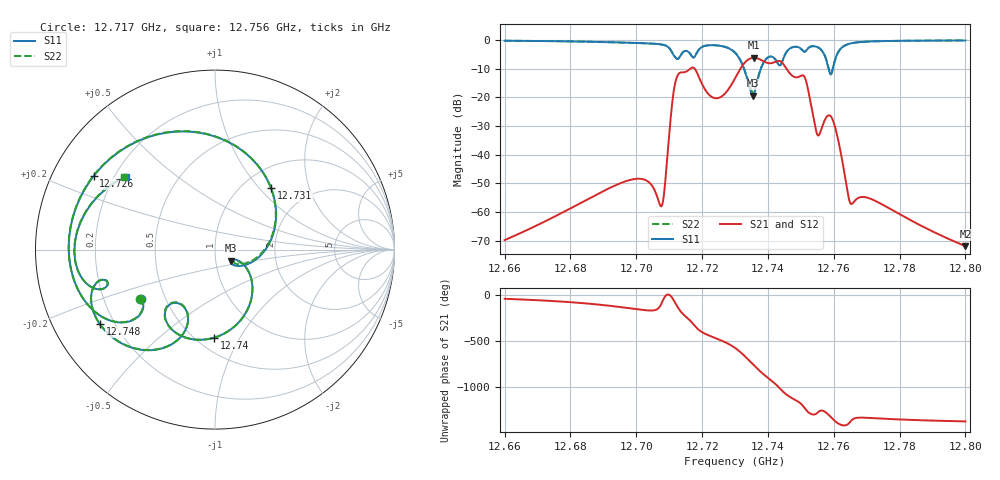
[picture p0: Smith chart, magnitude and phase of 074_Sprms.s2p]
! TOUCHSTONE file generated by CST MICROWAVE STUDIO
! Date and time: Wed Jul 31 14:26:43 2024
! Project name: WaveGuide_BPF-Ver4.1_U-shape_Ku_T3_C4_CWA_2.cst
! Parameters = {cavity_h=16; cavity_l0=10; cavity_l1=15.231; cavity_l2=16.8286; cavity_l3=17.0684; cavity_l4=17.2847; cavity_l5=17.1114; cavity_l6=17.5971; cavity_r=2.5; cavity_screw_l=0.5; cavity_screw_r=1.5; cavity_w=8; iris_h00=0; iris_h01=8.8413; iris_h112=0; iris_h12=5.6017; iris_h211=3.6609; i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
! Header version: 2018
! Port assignment regex: !\s*Touchstone port\s*([0-9]+)\s*=\s*(CST MWS port|CST DS port)\s*([0-9]+|Zmin|Zmax)\s*\(\"(.*)\"\)(\s*mode\s*([0-9]+))?.*
! Touchstone port assignment:
! Touchstone port 1 = CST MWS port 1 ("")
! Touchstone port 2 = CST MWS port 2 ("")
# GHz S RI R 50
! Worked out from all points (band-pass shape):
!   5001 points, 12.66 GHz to 12.8 GHz, reference 50 ohm
!   highest |S21| = -6.17 dB at 12.736 GHz (marker M1); lowest = -71.9 dB at 12.8 GHz (marker M2)
!   |S21| within 3 dB of the highest: 12.73211 GHz to 12.74517 GHz (13.05 MHz wide, 0.102 % of centre)
!   lowest |S11| = -19.4 dB at 12.735 GHz (marker M3), VSWR 1.24, Z = 59 - j7.37 ohm
!   |S11| at or under -10 dB: 12.73271 GHz to 12.73786 GHz (5.152 MHz wide, 0.0405 % of centre); 12.75842 GHz to 12.75969 GHz (1.269 MHz wide, 0.00995 % of centre)
!   |S22| runs from -18.1 to -0.1 dB; largest |S21 - S12| = 1e-09
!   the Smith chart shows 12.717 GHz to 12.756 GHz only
!   S11 on the Smith chart (normalised r, x): 12.717 GHz: 0.36, -0.26; 12.726 GHz: 0.13, +0.28; 12.731 GHz: 1.33, +1.16; 12.74 GHz: 0.61, -0.78; 12.748 GHz: 0.15, -0.29; 12.756 GHz: 0.25, +0.34
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12.66  0.5302 0.8168  0.000258 -0.000195  0.000258 -0.000195  0.5299 0.817
12.68335  0.9211 0.1938  0.000176 -0.00145  0.000176 -0.00145  0.9209 0.195
12.69564  0.7408 -0.5203  -0.00205 -0.00254  -0.00205 -0.00254  0.7413 -0.5197
12.70668  -0.1743 -0.8341  -0.00128 -0.001  -0.00128 -0.001  -0.1744 -0.8342
12.70827  -0.3502 -0.7453  0.00131 -0.00115  0.00131 -0.00115  -0.3502 -0.7459
12.71205  -0.3483 -0.3376  -0.0187 -0.1992  -0.0187 -0.1992  -0.3509 -0.338
12.71732  -0.4135 -0.2738  0.221 0.2466  0.221 0.2466  -0.4159 -0.2734
12.72566  -0.6757 0.4101  -0.0616 -0.0807  -0.0616 -0.0807  -0.6787 0.409
12.73  0.0799 0.5961  -0.1849 0.1085  -0.1849 0.1085  0.0665 0.6045
12.73143  0.3126 0.3423  -0.1031 0.2829  -0.1031 0.2829  0.3039 0.3622
12.7354  0.0871 -0.0617  0.4352 -0.226  0.4352 -0.226  0.1056 -0.0655
12.73574  0.0983 -0.0552  0.3797 -0.3124  0.3797 -0.3124  0.1142 -0.0618
12.73988  -0.00511 -0.4908  -0.3959 -0.0478  -0.3959 -0.0478  -0.00932 -0.492
12.74316  -0.2318 -0.2978  0.025 0.4319  0.025 0.4319  -0.2323 -0.294
12.74828  -0.6409 -0.4165  0.1271 -0.1853  0.1271 -0.1853  -0.6415 -0.4146
12.75335  -0.7761 -0.0734  -0.0528 0.0333  -0.0528 0.0333  -0.7766 -0.0753
12.75649  -0.4957 0.4062  -0.0305 -0.00399  -0.0305 -0.00399  -0.5057 0.4043
12.7594  0.2667 -0.0553  -0.0129 0.0421  -0.0129 0.0421  0.2653 -0.0322
12.76226  -0.2713 -0.6708  0.00843 0.00532  0.00843 0.00532  -0.2606 -0.6688
12.76522  -0.6849 -0.5462  0.000358 0.00134  0.000358 0.00134  -0.682 -0.5473
12.77668  -0.9638 -0.0355  -0.000135 0.00117  -0.000135 0.00117  -0.9638 -0.0332
12.8  -0.9059 0.3853  8.61e-05 0.000239  8.61e-05 0.000239  -0.9048 0.3881
